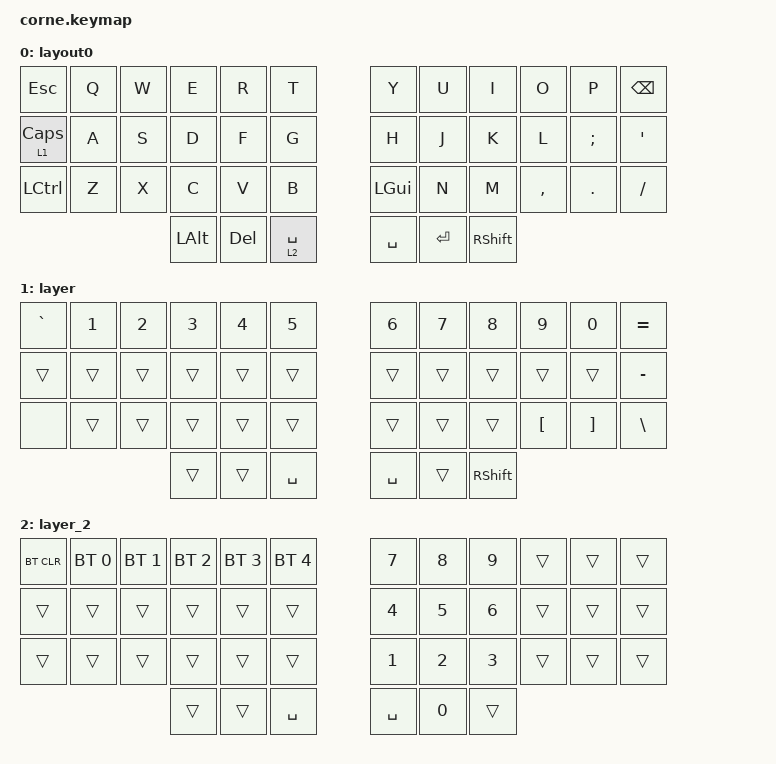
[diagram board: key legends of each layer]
/*
 * Copyright (c) 2020 The ZMK Contributors
 *
 * SPDX-License-Identifier: MIT
 */

#include "helper.h"
#include <dt-bindings/zmk/mouse.h>
#include <behaviors.dtsi>
#include "greek.dtsi"
#include <dt-bindings/zmk/bt.h>
#include <dt-bindings/zmk/keys.h>

#define U_MOUSE_MOVE_MAX 1400

/ {
    combos {
        compatible = "zmk,combos";

        bracket {
            bindings = <&kp LEFT_PARENTHESIS>;
            key-positions = <19 20>;
        };

        bracket_r {
            bindings = <&kp RIGHT_PARENTHESIS>;
            key-positions = <21 20>;
        };

        lb {
            bindings = <&kp LEFT_BRACKET>;
            key-positions = <31 32>;
        };

        rb {
            bindings = <&kp RIGHT_BRACKET>;
            key-positions = <32 33>;
        };

        lf {
            bindings = <&kp LEFT_BRACE>;
            key-positions = <31 32>;
        };

        rba {
            bindings = <&kp RIGHT_BRACE>;
            key-positions = <32 33>;
        };

        plus {
            bindings = <&kp PLUS>;
            key-positions = <16 17>;
        };

        minus {
            bindings = <&kp MINUS>;
            key-positions = <19 18>;
        };

        caret {
            bindings = <&kp CARET>;
            key-positions = <7 8>;
        };

        underscore {
            bindings = <&kp UNDERSCORE>;
            key-positions = <30 31>;
        };

        multiplu {
            bindings = <&kp KP_ASTERISK>;
            key-positions = <9 10>;
        };

        pipe {
            bindings = <&kp PIPE>;
            key-positions = <21 22>;
        };

        and {
            bindings = <&kp AMPERSAND>;
            key-positions = <9 8>;
        };

        at {
            bindings = <&kp AT>;
            key-positions = <2 3>;
        };

        tick {
            bindings = <&kp GRAVE>;
            key-positions = <0 1>;
        };

        enter {
            bindings = <&kp ENTER>;
            key-positions = <37 38>;
        };

        hash {
            bindings = <&kp HASH>;
            key-positions = <3 4>;
        };

        dollar {
            bindings = <&kp DOLLAR>;
            key-positions = <4 5>;
        };

        equal {
            bindings = <&kp EQUAL>;
            key-positions = <28 29>;
        };

        percent {
            bindings = <&kp PERCENT>;
            key-positions = <6 7>;
        };

        tilde {
            bindings = <&kp TILDE>;
            key-positions = <15 16>;
        };

        exam {
            bindings = <&kp EXCL>;
            key-positions = <1 2>;
        };
    };

    macros {
        love: love {
            compatible = "zmk,behavior-macro";
            #binding-cells = <0>;
            bindings = <&none &kp X &kp I &kp A &kp O &kp SPACE &kp Y &kp A &kp N &kp G &kp COMMA &kp SPACE &kp LS(I) &kp SPACE &kp L &kp O &kp V &kp E &kp SPACE &kp Y &kp O &kp U &kp COMMA &kp SPACE &kp F &kp O &kp R &kp SPACE &kp E &kp V &kp E &kp R &kp Y &kp SPACE &kp T &kp H &kp I &kp N &kp G &kp SPACE &kp W &kp E &kp SPACE &kp H &kp A &kp V &kp E &kp SPACE &kp B &kp E &kp E &kp N &kp SPACE &kp T &kp H &kp R &kp O &kp U &kp G &kp H &kp COMMA &kp SPACE &kp LS(I) &kp SPACE &kp A &kp M &kp SPACE &kp R &kp O &kp O &kp T &kp I &kp N &kp G &kp SPACE &kp F &kp O &kp R &kp SPACE &kp Y &kp O &kp U>;
            label = "LOVE";
        };
    };

    behaviors {
        hml: homewrow_mods_left {
            compatible = "zmk,behavior-hold-tap";
            label = "homewrow_mods_left";
            bindings = <&kp>, <&kp>;

            #binding-cells = <2>;
            hold-trigger-key-positions = <6 7 9 8 10 11 23 22 35 34 33 21 20 19 18 30 31 32 41 40 39>;
            tapping-term-ms = <300>;
            flavor = "balanced";
            quick-tap-ms = <175>;
            require-prior-idle-ms = <150>;
            hold-trigger-on-release;
        };

        hmr: hmr {
            compatible = "zmk,behavior-hold-tap";
            label = "HMR";
            bindings = <&kp>, <&kp>;

            #binding-cells = <2>;
            tapping-term-ms = <300>;
            hold-trigger-key-positions = <0 1 2 3 4 5 12 13 14 15 16 17 24 25 26 27 28 29 36 37 38>;
            flavor = "balanced";
            quick-tap-ms = <175>;
            require-prior-idle-ms = <150>;
            hold-trigger-on-release;
        };
    };

    keymap {
        compatible = "zmk,keymap";

        layout0 {
            bindings = <
&kp ESC         &kp Q  &kp W  &kp E     &kp R    &kp T          &kp Y      &kp U      &kp I      &kp O      &kp P     &kp BSPC
&lt 1 CAPSLOCK  &kp A  &kp S  &kp D     &kp F    &kp G          &kp H      &kp J      &kp K      &kp L      &kp SEMI  &kp APOS
&kp LCTRL       &kp Z  &kp X  &kp C     &kp V    &kp B          &kp LGUI   &kp N      &kp M      &kp COMMA  &kp DOT   &kp FSLH
                              &kp LALT  &kp DEL  &lt 2 SPACE    &kp SPACE  &kp ENTER  &kp RSHFT
            >;
        };

        layer {
            bindings = <
&kp GRAVE  &kp N1  &kp N2  &kp N3  &kp N4  &kp N5       &kp N6     &kp N7  &kp N8     &kp N9    &kp N0    &kp EQUAL
&trans     &trans  &trans  &trans  &trans  &trans       &trans     &trans  &trans     &trans    &trans    &kp MINUS
&none      &trans  &trans  &trans  &trans  &trans       &trans     &trans  &trans     &kp LBKT  &kp RBKT  &kp BSLH
                           &trans  &trans  &kp SPACE    &kp SPACE  &trans  &kp RSHFT
            >;
        };

        layer_2 {
            bindings = <
&bt BT_CLR  &bt BT_SEL 0  &bt BT_SEL 1  &bt BT_SEL 2  &bt BT_SEL 3  &bt BT_SEL 4    &kp N7     &kp N8  &kp N9  &trans  &trans  &trans
&trans      &trans        &trans        &trans        &trans        &trans          &kp N4     &kp N5  &kp N6  &trans  &trans  &trans
&trans      &trans        &trans        &trans        &trans        &trans          &kp N1     &kp N2  &kp N3  &trans  &trans  &trans
                                        &trans        &trans        &kp SPACE       &kp SPACE  &kp N0  &trans
            >;
        };
    };

    conditional_layers {
        compatible = "zmk,conditional-layers";

        switch {
            if-layers = <3 1>;
            then-layer = <6>;
        };
    };
};
